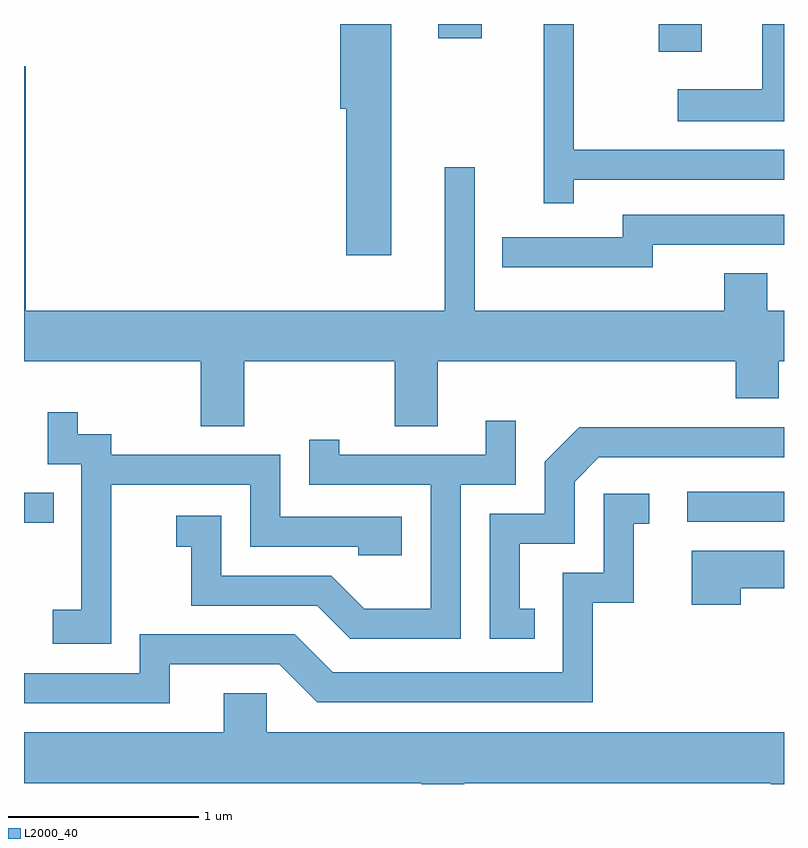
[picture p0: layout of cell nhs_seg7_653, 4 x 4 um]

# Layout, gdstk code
import gdstk
lib = gdstk.Library(unit=1e-6, precision=1e-09)
def R(c, l, rs):  # rectangles x0, y0, x1, y1
    for r in rs: c.add(gdstk.rectangle(r[:2], r[2:], *l))
def P(c, l, *ps):  # polygons
    for p in ps: c.add(gdstk.Polygon(p, *l))
L2000_40 = (2000, 40)

nhs_seg7_653 = lib.new_cell('nhs_seg7_653')
R(nhs_seg7_653, L2000_40, [(203.611,1775.626,203.768,1775.784), (207.103,1775.631,207.611,1775.789), (206.951,1778.106,207.179,1778.252), (205.791,1778.176,206.019,1778.252)])
P(nhs_seg7_653, L2000_40, [(205.544,1778.252),(205.276,1778.252),(205.276,1777.806),(205.306,1777.806),(205.306,1777.036),(205.544,1777.036)],
  [(207.611,1778.252),(207.496,1778.252),(207.496,1777.909),(207.053,1777.909),(207.053,1777.741),(207.611,1777.741)],
  [(206.504,1777.431),(207.611,1777.431),(207.611,1777.589),(206.504,1777.589),(206.504,1778.252),(206.346,1778.252),(206.346,1777.308),(206.504,1777.308)],
  [(204.769,1776.476),(205.561,1776.476),(205.561,1776.136),(205.789,1776.136),(205.789,1776.476),(207.356,1776.476),(207.356,1776.281),(207.584,1776.281),(207.584,1776.476),(207.611,1776.476),(207.611,1776.744),(207.524,1776.744),(207.524,1776.939),(207.296,1776.939),(207.296,1776.744),(205.984,1776.744),(205.984,1777.498),(205.826,1777.498),(205.826,1776.744),(203.619,1776.744),(203.619,1778.029),(203.611,1778.029),(203.611,1776.476),(204.541,1776.476),(204.541,1776.136),(204.769,1776.136)],
  [(206.919,1777.091),(207.611,1777.091),(207.611,1777.249),(206.761,1777.249),(206.761,1777.129),(206.128,1777.129),(206.128,1776.971),(206.919,1776.971)],
  [(204.069,1775.826),(204.801,1775.826),(204.801,1775.501),(205.371,1775.501),(205.371,1775.456),(205.599,1775.456),(205.599,1775.659),(204.959,1775.659),(204.959,1775.984),(204.069,1775.984),(204.069,1776.094),(203.894,1776.094),(203.894,1776.208),(203.736,1776.208),(203.736,1775.936),(203.911,1775.936),(203.911,1775.169),(203.761,1775.169),(203.761,1774.991),(204.069,1774.991)],
  [(205.909,1775.826),(206.199,1775.826),(206.199,1776.163),(206.041,1776.163),(206.041,1775.984),(205.269,1775.984),(205.269,1776.063),(205.111,1776.063),(205.111,1775.826),(205.751,1775.826),(205.751,1775.174),(205.402,1775.174),(205.227,1775.349),(204.649,1775.349),(204.649,1775.664),(204.413,1775.664),(204.413,1775.501),(204.491,1775.501),(204.491,1775.191),(205.154,1775.191),(205.329,1775.016),(205.909,1775.016)],
  [(206.298,1775.174),(206.219,1775.174),(206.219,1775.516),(206.509,1775.516),(206.509,1775.844),(206.637,1775.971),(207.611,1775.971),(207.611,1776.129),(206.534,1776.129),(206.351,1775.947),(206.351,1775.674),(206.061,1775.674),(206.061,1775.016),(206.298,1775.016)],
  [(204.379,1774.881),(204.954,1774.881),(205.154,1774.681),(206.604,1774.681),(206.604,1775.206),(206.819,1775.206),(206.819,1775.621),(206.903,1775.621),(206.903,1775.779),(206.661,1775.779),(206.661,1775.364),(206.446,1775.364),(206.446,1774.839),(205.237,1774.839),(205.037,1775.039),(204.221,1775.039),(204.221,1774.834),(203.611,1774.834),(203.611,1774.676),(204.379,1774.676)],
  [(207.384,1775.281),(207.611,1775.281),(207.611,1775.479),(207.126,1775.479),(207.126,1775.196),(207.384,1775.196)],
  [(205.929,1774.256),(207.541,1774.256),(207.541,1774.252),(207.611,1774.252),(207.611,1774.524),(204.889,1774.524),(204.889,1774.729),(204.661,1774.729),(204.661,1774.524),(203.611,1774.524),(203.611,1774.256),(205.701,1774.256),(205.701,1774.252),(205.929,1774.252)])

lib.write_gds('nhs_seg7_653.gds')
